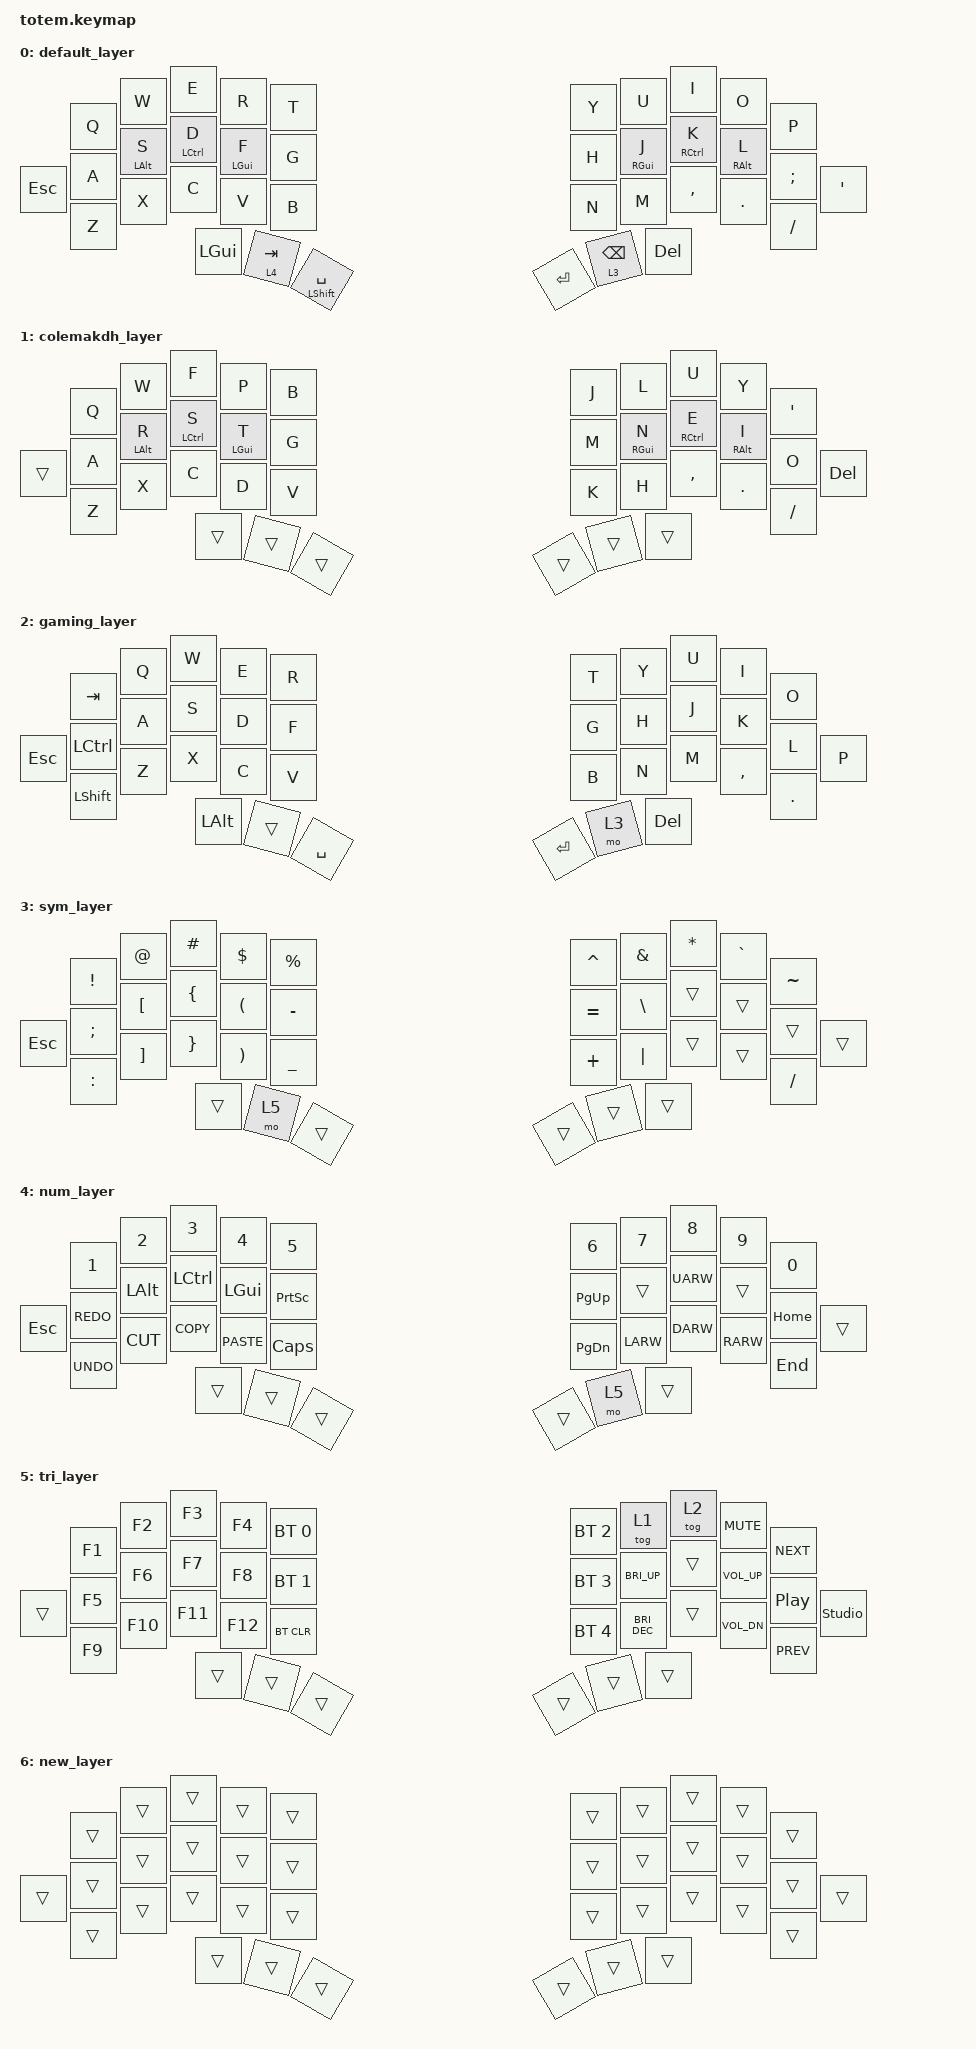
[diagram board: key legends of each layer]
/*
 * Copyright (c) 2020 The ZMK Contributors
 *
 * SPDX-License-Identifier: MIT
 */

#include <behaviors.dtsi>
#include <dt-bindings/zmk/keys.h>
#include <dt-bindings/zmk/bt.h>

#define ___ &trans   

&lt {
        #binding-cells = <2>;
        tapping-term-ms = <200>;
        quick-tap-ms = <0>;
        flavor = "tap-preferred";
};

/ {
    behaviors {
        hm: homerow_mods {
            compatible = "zmk,behavior-hold-tap";
            label = "HOMEROW_MODS";
            #binding-cells = <2>;
            tapping-term-ms = <200>;
            quick-tap-ms = <0>;
            flavor = "tap-preferred";
            bindings = <&kp>, <&kp>;
        };
    };

    keymap {
                compatible = "zmk,keymap";

                default_layer {
                        bindings = <
        //          ╭──────────┬──────────┬──────────┬──────────┬──────────╮             ╭──────────┬──────────┬──────────┬──────────┬──────────╮
                      &kp Q      &kp W      &kp E      &kp R      &kp T                    &kp Y      &kp U      &kp I      &kp O      &kp P 
        //          ├──────────┼───────_──┼──────────┼──────────┼──────────┤             ├──────────┼──────────┼──────────┼──────────┼──────────┤
                      &kp A      &hm LALT S &hm LCTRL D &hm LGUI F  &kp G                   &kp H    &hm RGUI J &hm RCTRL K &hm RALT L &kp SEMI
        //╭─────────┼──────────┼──────────┼──────────┼──────────┼──────────┤             ├──────────┼──────────┼──────────┼──────────┼──────────┼──────────╮
            &kp ESC              &kp X      &kp C      &kp V      &kp B                    &kp N      &kp M      &kp COMMA  &kp DOT               &kp SQT
        //╰─────────┴          ┴──────────┼──────────┼──────────┼──────────┤             ├──────────┼──────────┼──────────┴──────────┴──────────┴──────────╯
                      &kp Z                 &kp LGUI   &lt 4 TAB  &hm LSHFT SPACE          &kp RET    &lt 3 BSPC &kp DEL              &kp FSLH
        //          ╰──────────╯          ╰──────────┴──────────┴──────────╯             ╰──────────┴──────────┴──────────╯          ╰──────────╯
                        >;
                };
                 colemakdh_layer {
                        bindings = <
        //          ╭──────────┬──────────┬──────────┬──────────┬──────────╮             ╭──────────┬──────────┬──────────┬──────────┬──────────╮
                      &kp Q      &kp W      &kp F      &kp P      &kp B                    &kp J      &kp L      &kp U      &kp Y      &kp SQT 
        //          ├──────────┼──────────┼──────────┼──────────┼──────────┤             ├──────────┼──────────┼──────────┼──────────┼──────────┤
                      &kp A      &hm LALT R &hm LCTRL S &hm LGUI T  &kp G                  &kp M     &hm RGUI N  &hm RCTRL E &hm RALT I  &kp O
        //╭─────────┼──────────┼──────────┼──────────┼──────────┼──────────┤             ├──────────┼──────────┼──────────┼──────────┼──────────┼──────────╮
              ___                &kp X      &kp C      &kp D       &kp V                   &kp K      &kp H      &kp COMMA  &kp DOT               &kp DEL
        //╰─────────┴          ┴──────────┼──────────┼──────────┼──────────┤             ├──────────┼──────────┼──────────┴──────────┴──────────┴──────────╯
                     &kp Z                  ___        ___        ___                     ___          ___         ___                 &kp FSLH
        //          ╰──────────╯          ╰──────────┴──────────┴──────────╯             ╰──────────┴──────────┴──────────╯          ╰──────────╯
                        >;
                };
                gaming_layer {
                        bindings = <
        //          ╭──────────┬──────────┬──────────┬──────────┬──────────╮             ╭──────────┬──────────┬──────────┬──────────┬──────────╮
                      &kp TAB     &kp Q      &kp W      &kp E     &kp R                   &kp T      &kp Y      &kp U      &kp I      &kp O     
        //          ├──────────┼──────────┼──────────┼──────────┼──────────┤             ├──────────┼──────────┼──────────┼──────────┼──────────┤
                      &kp LCTRL   &kp A      &kp S      &kp D     &kp F                   &kp G      &kp H      &kp J      &kp K      &kp L 
        //╭─────────┼──────────┼──────────┼──────────┼──────────┼──────────┤             ├──────────┼──────────┼──────────┼──────────┼──────────┼──────────╮
            &kp ESC               &kp Z      &kp X      &kp C     &kp V                   &kp B      &kp N      &kp M      &kp COMMA             &kp P 
        //╰─────────┴          ┴──────────┼──────────┼──────────┼──────────┤             ├──────────┼──────────┼──────────┴──────────┴──────────┴──────────╯
                      &kp LSHFT             &kp LALT    ___       &kp SPACE               &kp RET    &mo 3      &kp DEL               &kp DOT
        //          ╰──────────╯          ╰──────────┴──────────┴──────────╯             ╰──────────┴──────────┴──────────╯          ╰──────────╯
                        >;
                };
                sym_layer {
                        bindings = <
        //          ╭──────────┬──────────┬──────────┬──────────┬──────────╮             ╭──────────┬──────────┬──────────┬──────────┬──────────╮
                      &kp EXCL   &kp AT     &kp HASH   &kp DLLR   &kp PRCNT                &kp CARET  &kp AMPS   &kp ASTRK  &kp GRAVE  &kp TILDE
        //          ├──────────┼──────────┼──────────┼──────────┼──────────┤             ├──────────┼──────────┼──────────┼──────────┼──────────┤
                      &kp SEMI   &kp LBKT   &kp LBRC   &kp LPAR   &kp MINUS                &kp EQUAL  &kp BSLH   ___        ___        ___   
        //╭─────────├──────────┼──────────┼──────────┼──────────┼──────────┤             ├──────────┼──────────┼──────────┼──────────┼──────────┤──────────╮ 
            &kp ESC              &kp RBKT   &kp RBRC   &kp RPAR   &kp UNDER                &kp PLUS   &kp PIPE   ___        ___                   ___   
        //╰─────────┴──────────┴──────────┴──────────┼──────────┼──────────┤             ├──────────┼──────────┼──────────┴──────────┴──────────┴──────────╯
                      &kp COLON             ___        &mo 5         ___                     ___        ___         ___                  &kp FSLH
        //          ╰──────────╯          ╰──────────┴──────────┴──────────╯             ╰──────────┴──────────┴──────────╯          ╰──────────╯
                    >;
                };
                num_layer  {
                        bindings = <
        //          ╭──────────┬──────────┬──────────┬──────────┬──────────╮             ╭──────────┬──────────┬──────────┬──────────┬──────────╮
                      &kp N1     &kp N2     &kp N3     &kp N4     &kp N5                   &kp N6     &kp N7     &kp N8     &kp N9     &kp N0
        //          ├──────────┼──────────┼──────────┼──────────┼──────────┤             ├──────────┼──────────┼──────────┼──────────┼──────────┤
                      &kp K_REDO &kp LALT   &kp LCTRL  &kp LGUI   &kp PSCRN                &kp PG_UP   ___       &kp UARW   ___        &kp HOME 
        //╭─────────├──────────┼──────────┼──────────┼──────────┼──────────┤             ├──────────┼──────────┼──────────┼──────────┼──────────┼───────────╮
            &kp ESC              &kp K_CUT  &kp K_COPY &kp K_PASTE &kp CAPS                &kp PG_DN  &kp LARW   &kp DARW   &kp RARW               ___    
        //╰─────────┴──────────┴──────────┴──────────┼──────────┼──────────┤             ├──────────┼──────────┼──────────┴──────────┴──────────┴───────────╯
                      &kp K_UNDO            ___        ___       ___                      ___         &mo 5        ___                  &kp END
        //          ╰──────────╯          ╰──────────┴──────────┴──────────╯             ╰──────────┴──────────┴──────────╯          ╰──────────╯
                    >;
                };
                tri_layer {
                        bindings = <     
        //          ╭──────────┬──────────┬──────────┬───────────┬────────────╮           ╭────────────┬────────────┬──────────┬───────────┬──────────╮
                      &kp F1     &kp F2     &kp F3     &kp F4     &bt BT_SEL 0             &bt BT_SEL 2   &tog 1      &tog 2    &kp C_MUTE  &kp C_NEXT
        //          ├──────────┼──────────┼──────────┼───────────┼────────────┤           ├────────────┼────────────┼──────────┼───────────┼──────────┤
                      &kp F5     &kp F6     &kp F7     &kp F8     &bt BT_SEL 1             &bt BT_SEL 3  &kp C_BRI_UP  ___      &kp C_VOL_UP  &kp C_PP
        //╭─────────├──────────┼──────────┼──────────┼───────────┼────────────┤           ├────────────┼────────────┼──────────┼───────────┼──────────┼───────────╮
            ___                  &kp F10    &kp F11    &kp F12     &bt BT_CLR              &bt BT_SEL 4  &kp C_BRI_DEC ___      &kp C_VOL_DN           &studio_unlock
        //╰─────────╰──────────┴──────────┴──────────┼───────────┼────────────┤           ├────────────┼────────────┼──────────┴───────────┴──────────┴───────────╯ 
                       &kp F9               ___        ___         ___                     ___            ___         ___                    &kp C_PREV
        //          ╰──────────╯          ╰──────────┴───────────┴────────────╯           ╰────────────┴────────────┴──────────╯           ╰──────────╯

                        >;     
                };

                new_layer {
                        bindings = <     
        //          ╭──────────┬──────────┬──────────┬───────────┬────────────╮           ╭────────────┬────────────┬──────────┬───────────┬──────────╮
                      ___        ___        ___        ___         ___                     ___           ___          ___        ___         ___        
        //          ├──────────┼──────────┼──────────┼───────────┼────────────┤           ├────────────┼────────────┼──────────┼───────────┼──────────┤
                      ___        ___        ___        ___         ___                     ___           ___         ___        ___         ___        
        //╭─────────├──────────┼──────────┼──────────┼───────────┼────────────┤           ├────────────┼────────────┼──────────┼───────────┼──────────┼───────────╮
            ___                  ___        ___        ___        ___                      ___           ___      ___        ___                      ___
        //╰─────────╰──────────┴──────────┴──────────┼───────────┼────────────┤           ├────────────┼────────────┼──────────┴───────────┴──────────┴───────────╯ 
                       ___                  ___        ___         ___                     ___            ___         ___                    ___
        //          ╰──────────╯          ╰──────────┴───────────┴────────────╯           ╰────────────┴────────────┴──────────╯           ╰──────────╯

                        >;     
                };
                
        };
};
